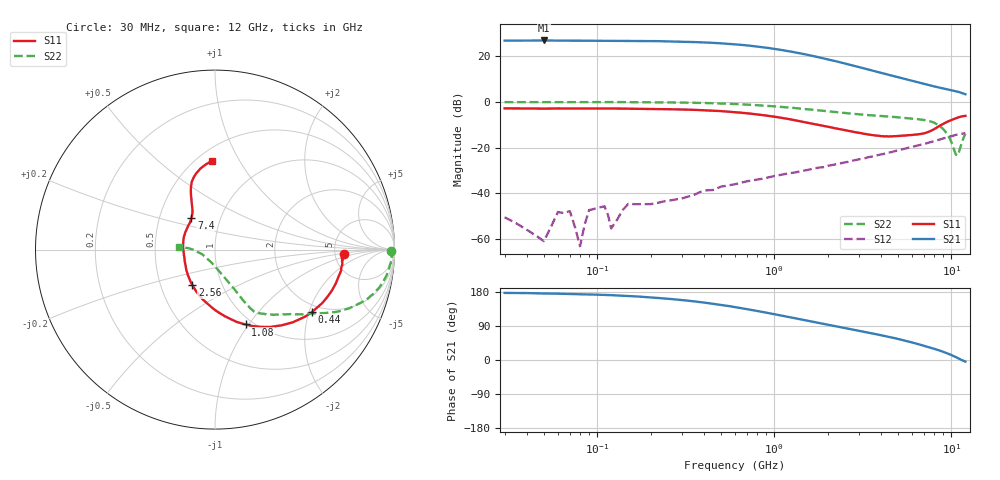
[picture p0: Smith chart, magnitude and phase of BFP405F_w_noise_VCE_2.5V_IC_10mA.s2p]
! Infineon Technologies  Discrete & RF Semiconductors
! BFP405F
! VCE =  2.5 V,  IC =  10 mA
! Common Emitter S-Parameters:  Nov 2015
# GHz  S  MA  R  50
!  f  S11  S21  S12  S22
! GHz  MAG  ANG  MAG  ANG  MAG  ANG  MAG  ANG
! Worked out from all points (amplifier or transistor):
!   239 points, 30 MHz to 12 GHz, reference 50 ohm
!   highest |S21| = 26.8 dB at 50 MHz (marker M1)
!   |S21| within 3 dB of that: start of sweep to 869.1 MHz
!   unconditionally stable (mu >= 1): 46.36 MHz to 50.44 MHz; 2.264 GHz to end of sweep
!   at 300 MHz: K = 0.16, MSG = 34.3 dB, |S12| = -42.3 dB
!   at 1.88 GHz: K = 0.90, MSG = 23.8 dB, |S12| = -28.6 dB
!   at 12 GHz: K = 1.39, MAG = 4.8 dB, |S12| = -13.7 dB
!   lowest NFmin = 1.67 dB at 450 MHz
!   S11 on the Smith chart (normalised r, x): 30 MHz: 6.02, -0.62; 440 MHz: 1.77, -2.10; 1.08 GHz: 0.93, -0.97; 2.56 GHz: 0.72, -0.30; 7.4 GHz: 0.73, +0.27; 12 GHz: 0.60, +0.77
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0.03  0.7177 -2.0  21.67 177.0  0.003 75.8  0.9815 -0.5
0.05  0.7075 -4.0  21.86 175.5  0.0009 0.7  0.9825 -1.4
0.06  0.7149 -4.5  21.65 175.0  0.0039 98.6  0.9877 -1.4
0.07  0.7104 -5.2  21.64 173.9  0.0041 52.6  0.9818 -1.9
0.08  0.7133 -6.0  21.52 173.3  0.0007 -168.9  0.9866 -2.0
0.085  0.7135 -6.5  21.57 173.1  0.0021 99.5  0.986 -2.4
0.11  0.7105 -8.5  21.47 171.6  0.0052 81.0  0.9833 -3.4
0.12  0.7124 -9.4  21.43 171.1  0.0017 84.3  0.985 -3.8
0.145  0.707 -11.3  21.44 169.5  0.0051 88.9  0.9812 -4.6
0.24  0.692 -18.5  20.95 162.4  0.0067 75.2  0.9694 -7.9
0.32  0.6742 -24.3  20.43 156.9  0.0083 80.5  0.9565 -10.3
0.44  0.6429 -32.7  19.48 149.0  0.0117 76.6  0.9322 -13.7
0.6  0.5929 -43.1  17.99 139.6  0.0158 72.7  0.8936 -17.8
0.8  0.5302 -54.4  16.08 129.4  0.0199 72.4  0.8415 -21.7
1.08  0.451 -67.7  13.68 117.9  0.0251 69.4  0.7757 -26.2
1.64  0.3338 -90.6  10.09 101.2  0.0342 66.1  0.6712 -32.0
2.1  0.2746 -107.2  8.131 91.2  0.0414 65.1  0.6091 -36.3
2.56  0.2353 -122.2  6.721 83.4  0.048 64.2  0.5631 -39.8
4.5  0.1755 -174.4  3.815 60.5  0.0783 59.1  0.4731 -49.9
7.4  0.2194 126.8  2.329 34.3  0.127 48.4  0.383 -58.9
10.8  0.4471 102.1  1.672 5.7  0.1922 29.7  0.067 -137.4
12  0.4922 91.7  1.459 -4.2  0.2066 22.9  0.1995 175.6
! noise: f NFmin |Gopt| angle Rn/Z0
0.45  1.67  0.21  5  0.32
0.9  1.68  0.19  9  0.33
1.5  1.74  0.17  15  0.25
1.9  1.78  0.16  21  0.29
2.4  1.91  0.14  28  0.36
3  1.99  0.12  42  0.35
3.5  2.04  0.1  48  0.34
4.5  2.21  0.08  46  0.2
5.5  2.42  0.04  37  0.06
